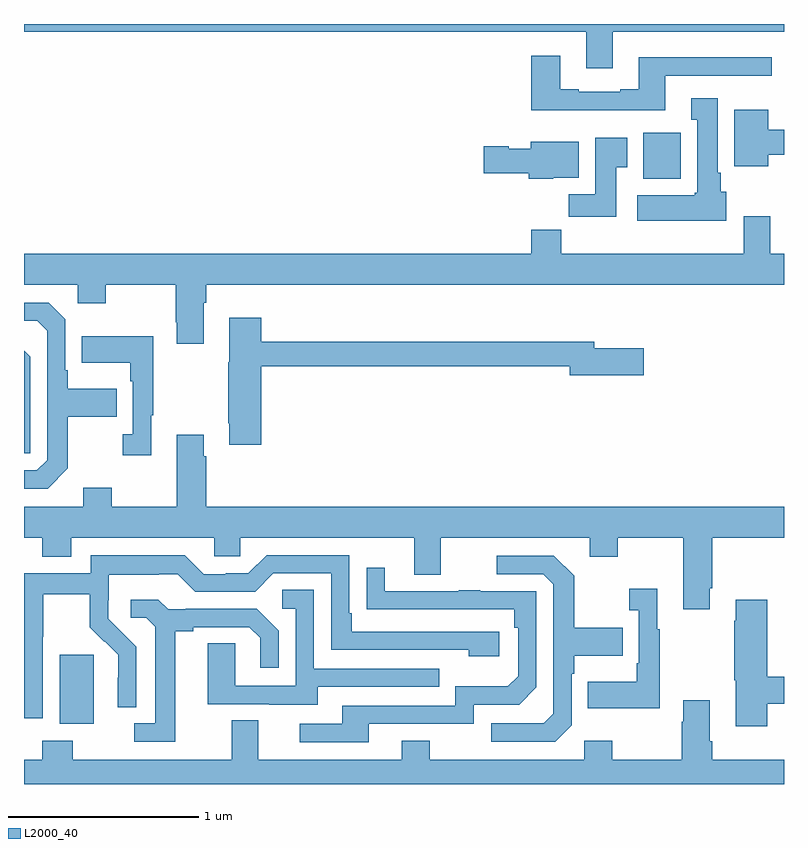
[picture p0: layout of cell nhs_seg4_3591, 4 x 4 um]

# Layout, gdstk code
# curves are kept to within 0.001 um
import gdstk
lib = gdstk.Library(unit=1e-6, precision=1e-09)
def R(c, l, rs):  # rectangles x0, y0, x1, y1
    for r in rs: c.add(gdstk.rectangle(r[:2], r[2:], *l))
def P(c, l, *ps):  # polygons
    for p in ps: c.add(gdstk.Polygon(p, *l))
L2000_40 = (2000, 40)

nhs_seg4_3591 = lib.new_cell('nhs_seg4_3591')
R(nhs_seg4_3591, L2000_40, [(301.187,753.218,301.366,753.579), (304.259,756.086,304.456,756.328)])
P(nhs_seg4_3591, L2000_40, [(304.099,756.86),(305,756.86),(305,756.9),(301,756.9),(301,756.86),(303.959,756.86),(303.959,756.666),(304.099,756.666)],
  [(304.375,756.627),(304.936,756.627),(304.936,756.724),(304.235,756.724),(304.235,756.556),(304.139,756.556),(304.139,756.543),(303.919,756.543),(303.919,756.556),(303.823,756.556),(303.823,756.733),(303.671,756.733),(303.671,756.446),(304.375,756.446)],
  [(304.696,756.018),(304.666,756.018),(304.666,756.118),(304.651,756.118),(304.651,756.508),(304.511,756.508),(304.511,756.395),(304.544,756.395),(304.544,756.012),(304.531,756.012),(304.531,755.998),(304.227,755.998),(304.227,755.864),(304.696,755.864)],
  [(304.918,756.212),(305,756.212),(305,756.344),(304.918,756.344),(304.918,756.448),(304.739,756.448),(304.739,756.152),(304.918,756.152)],
  [(304.117,756.145),(304.174,756.145),(304.174,756.301),(304.007,756.301),(304.007,756.004),(303.868,756.004),(303.868,755.886),(304.117,755.886)],
  [(303.786,756.092),(303.919,756.092),(303.919,756.28),(303.668,756.28),(303.668,756.244),(303.552,756.244),(303.552,756.257),(303.42,756.257),(303.42,756.115),(303.656,756.115),(303.656,756.086),(303.786,756.086)],
  [(301.945,755.432),(301.958,755.432),(301.958,755.528),(305,755.528),(305,755.692),(304.927,755.692),(304.927,755.887),(304.787,755.887),(304.787,755.692),(303.827,755.692),(303.827,755.816),(303.671,755.816),(303.671,755.692),(301,755.692),(301,755.528),(301.284,755.528),(301.284,755.429),(301.431,755.429),(301.431,755.528),(301.798,755.528),(301.798,755.329),(301.805,755.329),(301.805,755.217),(301.945,755.217)],
  [(301.231,754.561),(301.231,754.834),(301.487,754.834),(301.487,754.981),(301.231,754.981),(301.231,755.077),(301.218,755.077),(301.218,755.346),(301.131,755.433),(301,755.433),(301,755.337),(301.071,755.337),(301.122,755.286),(301.122,754.605),(301.068,754.551),(301,754.551),(301,754.455),(301.125,754.455)],
  [(302.249,755.098),(303.872,755.098),(303.872,755.051),(304.261,755.051),(304.261,755.193),(304,755.193),(304,755.227),(302.249,755.227),(302.249,755.353),(302.081,755.353),(302.081,755.121),(302.074,755.121),(302.074,754.798),(302.081,754.798),(302.081,754.686),(302.249,754.686)],
  [(301.669,754.841),(301.681,754.841),(301.681,755.257),(301.303,755.257),(301.303,755.117),(301.56,755.117),(301.56,755.021),(301.572,755.021),(301.572,754.742),(301.521,754.742),(301.521,754.629),(301.669,754.629)],
  [(301.032,755.148),(301,755.18),(301,754.641),(301.032,754.641)],
  [(304.609,753.931),(304.622,753.931),(304.622,754.196),(305,754.196),(305,754.36),(301.958,754.36),(301.958,754.625),(301.945,754.625),(301.945,754.738),(301.805,754.738),(301.805,754.36),(301.461,754.36),(301.461,754.459),(301.313,754.459),(301.313,754.36),(301,754.36),(301,754.196),(301.097,754.196),(301.097,754.097),(301.249,754.097),(301.249,754.196),(302.001,754.196),(302.001,754.098),(302.139,754.098),(302.139,754.196),(303.053,754.196),(303.053,754.002),(303.193,754.002),(303.193,754.196),(303.977,754.196),(303.977,754.097),(304.125,754.097),(304.125,754.196),(304.469,754.196),(304.469,753.819),(304.609,753.819)],
  [(301.002,753.912),(301.002,753.345),(301,753.345),(301,753.247),(301.098,753.247),(301.098,753.676),(301.101,753.676),(301.101,753.9),(301.345,753.9),(301.345,753.725),(301.422,753.648),(301.425,753.651),(301.496,753.581),(301.496,753.458),(301.494,753.458),(301.494,753.304),(301.59,753.304),(301.59,753.622),(301.444,753.77),(301.444,753.867),(301.446,753.867),(301.446,754.001),(301.709,754.001),(301.709,754.005),(301.809,754.005),(301.902,753.912),(302.217,753.912),(302.313,754.008),(302.616,754.008),(302.616,753.606),(303.341,753.606),(303.341,753.572),(303.502,753.572),(303.502,753.702),(302.725,753.702),(302.725,753.799),(302.712,753.799),(302.712,754.104),(302.277,754.104),(302.181,754.008),(302.063,754.008),(302.063,754.005),(301.947,754.005),(301.847,754.105),(301.35,754.105),(301.35,754.008),(301,754.008),(301,753.912)],
  [(303.882,753.21),(303.882,753.479),(303.895,753.479),(303.895,753.575),(304.151,753.575),(304.151,753.723),(303.895,753.723),(303.895,753.995),(303.789,754.101),(303.489,754.101),(303.489,754.005),(303.732,754.005),(303.786,753.951),(303.786,753.27),(303.735,753.219),(303.459,753.219),(303.459,753.123),(303.795,753.123)],
  [(302.815,753.216),(303.366,753.216),(303.366,753.318),(303.606,753.318),(303.696,753.408),(303.696,753.915),(303.401,753.915),(303.401,753.92),(303.289,753.92),(303.289,753.915),(302.899,753.915),(302.899,754.039),(302.803,754.039),(302.803,753.82),(303.58,753.819),(303.58,753.722),(303.6,753.722),(303.6,753.468),(303.547,753.415),(303.27,753.415),(303.27,753.312),(302.675,753.312),(302.675,753.216),(302.451,753.216),(302.451,753.12),(302.815,753.12)],
  [(304.345,753.715),(304.333,753.715),(304.333,753.928),(304.185,753.928),(304.185,753.815),(304.236,753.815),(304.236,753.535),(304.224,753.535),(304.224,753.439),(303.967,753.439),(303.967,753.299),(304.345,753.299)],
  [(302.545,753.411),(303.185,753.411),(303.185,753.507),(302.526,753.507),(302.526,753.923),(302.358,753.923),(302.358,753.822),(302.43,753.822),(302.43,753.417),(302.112,753.417),(302.112,753.641),(301.967,753.641),(301.967,753.321),(302.291,753.321),(302.291,753.317),(302.545,753.317)],
  [(304.913,753.322),(305,753.322),(305,753.464),(304.913,753.464),(304.913,753.871),(304.745,753.871),(304.745,753.758),(304.738,753.758),(304.738,753.447),(304.745,753.447),(304.745,753.204),(304.913,753.204)],
  [(301.795,753.704),(301.891,753.704),(301.891,753.726),(302.186,753.726),(302.243,753.669),(302.243,753.513),(302.34,753.513),(302.34,753.706),(302.224,753.822),(301.852,753.822),(301.852,753.819),(301.758,753.819),(301.706,753.871),(301.563,753.871),(301.563,753.774),(301.644,753.774),(301.691,753.727),(301.691,753.219),(301.581,753.219),(301.581,753.123),(301.795,753.123)],
  [(305,753.028),(304.622,753.028),(304.622,753.124),(304.609,753.124),(304.609,753.34),(304.469,753.34),(304.469,753.227),(304.462,753.227),(304.462,753.028),(304.095,753.028),(304.095,753.127),(303.948,753.127),(303.948,753.028),(303.135,753.028),(303.135,753.127),(302.987,753.127),(302.987,753.028),(302.233,753.028),(302.233,753.236),(302.093,753.236),(302.093,753.028),(301.257,753.028),(301.257,753.127),(301.097,753.127),(301.097,753.028),(301,753.028),(301,752.9),(305,752.9)])

lib.write_gds('nhs_seg4_3591.gds')
